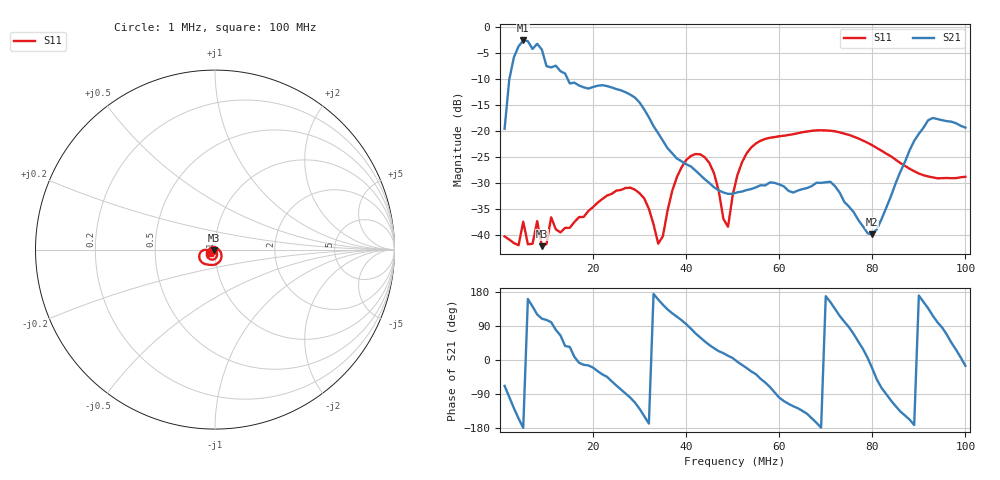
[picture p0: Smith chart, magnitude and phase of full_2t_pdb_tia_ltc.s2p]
# HZ S RI R 50
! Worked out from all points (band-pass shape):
!   100 points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, 1 MHz to 100 MHz, reference 50 ohm
!   highest |S21| = -2.61 dB at 5 MHz (marker M1); lowest = -39.8 dB at 80 MHz (marker M2)
!   |S21| within 3 dB of the highest: 3.101 MHz to 9.395 MHz (6.294 MHz wide, 101 % of centre)
!   lowest |S11| = -42.1 dB at 9 MHz (marker M3), VSWR 1.02, Z = 49.3 - j0.279 ohm
!   |S11| at or under -10 dB: start of sweep to end of sweep
!   S12 and S22 are empty: the file has one direction only
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1000001  -0.00978 0.00044  0.0388 -0.0981  0 0  0 0
3000001  -0.00829 -0.00161  -0.3093 -0.4075  0 0  0 0
5000001  -0.0134 -0.0017  -0.7404 -0.0111  0 0  0 0
6000001  -0.00777 -0.00272  -0.6891 0.2372  0 0  0 0
8000001  -0.0123 -0.00602  -0.3451 0.5947  0 0  0 0
9000001  -0.00737 -0.00283  -0.1979 0.5721  0 0  0 0
1.1e7  -0.0118 -0.00909  -0.069 0.4023  0 0  0 0
1.4e7  -0.00725 -0.00934  0.2847 0.2147  0 0  0 0
1.8e7  -0.00655 -0.0136  0.2567 -0.0578  0 0  0 0
2.8e7  -0.0191 -0.0214  -0.0359 -0.221  0 0  0 0
3.4e7  -0.00464 -0.00694  -0.0895 0.0333  0 0  0 0
4.1e7  -0.0135 -0.0562  0.00556 0.0456  0 0  0 0
4.5e7  -0.0459 -0.0184  0.0246 0.0202  0 0  0 0
4.9e7  0.00887 0.00823  0.0246 0.00485  0 0  0 0
5.1e7  0.0334 -0.0174  0.0258 -0.00205  0 0  0 0
5.5e7  0.0176 -0.0742  0.023 -0.0176  0 0  0 0
6.7e7  -0.0672 -0.0751  -0.0267 -0.0131  0 0  0 0
7.1e7  -0.0847 -0.0548  -0.0291 0.015  0 0  0 0
8e7  -0.0728 -0.00759  0.00949 -0.00392  0 0  0 0
8.4e7  -0.0574 -0.00173  -0.00682 -0.0228  0 0  0 0
9.2e7  -0.0354 -0.00981  -0.0924 0.0876  0 0  0 0
1e8  -0.0296 -0.0214  0.1042 -0.0284  0 0  0 0
